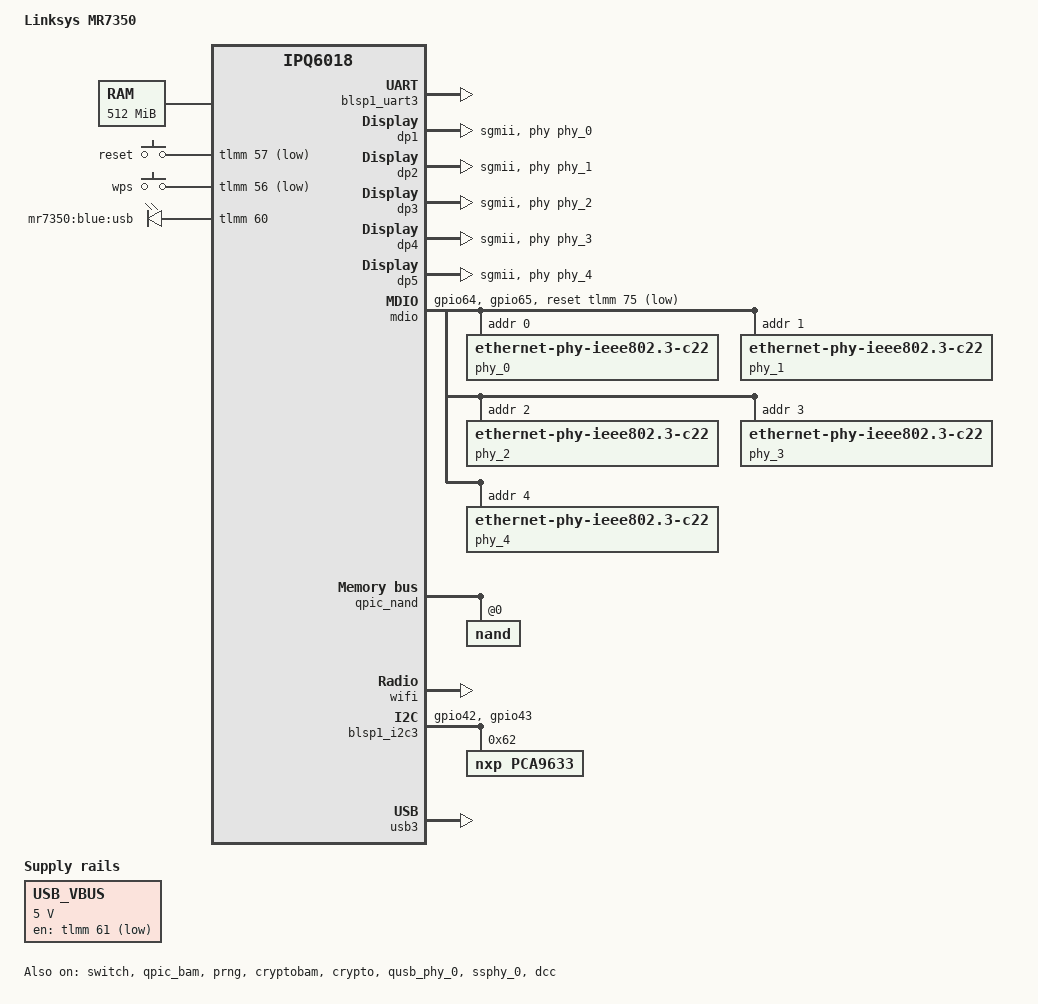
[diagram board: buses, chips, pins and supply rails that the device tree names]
// SPDX-License-Identifier: (GPL-2.0+)

/dts-v1/;

#include "ipq6018.dtsi"
#include "ipq6018-upstreamable.dtsi"
#include "ipq6018-regulator-mp5496.dtsi"
#include "ipq6018-ess.dtsi"

#include <dt-bindings/input/input.h>
#include <dt-bindings/gpio/gpio.h>

/ {
	model = "Linksys MR7350";
	compatible = "linksys,mr7350", "qcom,ipq6018";

	aliases {
		serial0 = &blsp1_uart3;
		led-boot = &led_blue;
		led-failsafe = &led_green;
		led-running = &led_blue;
		led-upgrade = &led_red;

		ethernet0 = "/soc/dp1";
		ethernet1 = "/soc/dp2";
		ethernet2 = "/soc/dp3";
		ethernet3 = "/soc/dp4";
		ethernet4 = "/soc/dp5";
	};

	chosen {
		stdout-path = "serial0:115200n8";
		bootargs-append = " ubi.block=0,rootfs root=/dev/ubiblock0_1 swiotlb=1 coherent_pool=2M";
	};

	memory {
		device_type = "memory";
		reg = <0x0 0x40000000 0x0 0x20000000>;
	};

	keys {
		compatible = "gpio-keys";

		reset {
			label = "reset";
			gpios = <&tlmm 57 GPIO_ACTIVE_LOW>;
			linux,code = <KEY_RESTART>;
		};

		wps {
			label = "wps";
			gpios = <&tlmm 56 GPIO_ACTIVE_LOW>;
			linux,code = <KEY_WPS_BUTTON>;
		};
	};
	
	leds {
		compatible = "gpio-leds";
		pinctrl-0 = <&leds_pins>;
		pinctrl-names = "default";

		usb {
			label = "mr7350:blue:usb";
			gpios = <&tlmm 60 GPIO_ACTIVE_HIGH>;
			linux,default-trigger = "usbport";
		};
	};

	regulator-usb-vbus {
		compatible = "regulator-fixed";
		regulator-name = "USB_VBUS";
		regulator-min-microvolt = <5000000>;
		regulator-max-microvolt = <5000000>;
		regulator-always-on;
		regulator-boot-on;
		gpio = <&tlmm 61 GPIO_ACTIVE_LOW>;
	};
};

&blsp1_uart3 {
	pinctrl-0 = <&serial_3_pins>;
	pinctrl-names = "default";
	status = "ok";
};

&tlmm {
	i2c3_pins: i2c3-pins {
		pins = "gpio42", "gpio43";
		function = "blsp2_i2c";
		drive-strength = <8>;
	};

	mdio_pins: mdio-pins {
		mdc {
			pins = "gpio64";
			function = "mdc";
			drive-strength = <8>;
			bias-pull-up;
		};

		mdio {
			pins = "gpio65";
			function = "mdio";
			drive-strength = <8>;
			bias-pull-up;
		};
	};

	leds_pins: leds_pins {
		led_usb {
			pins = "gpio60";
			function = "gpio";
			drive-strength = <8>;
			bias-pull-down;
		};
	};
};

&soc {
	dp1: dp@1 {
		compatible = "qcom,nss-dp";
		reg = <0x0 0x3a001000 0x0 0x200>;
		qcom,mactype = <0>;
		label = "lan1";
		local-mac-address = [000000000000];
		qcom,id = <1>;

		phy-handle = <&phy_0>;
		phy-mode = "sgmii";
	};

	dp2 {
		compatible = "qcom,nss-dp";
		reg = <0x0 0x3a001200 0x0 0x200>;
		qcom,mactype = <0>;
		label = "lan2";
		local-mac-address = [000000000000];
		qcom,id = <2>;

		phy-handle = <&phy_1>;
		phy-mode = "sgmii";
	};

	dp3 {
		compatible = "qcom,nss-dp";
		reg = <0x0 0x3a001400 0x0 0x200>;
		qcom,mactype = <0>;
		label = "lan3";
		local-mac-address = [000000000000];
		qcom,id = <3>;

		phy-handle = <&phy_2>;
		phy-mode = "sgmii";
	};

	dp4 {
		compatible = "qcom,nss-dp";
		reg = <0x0 0x3a001600 0x0 0x200>;
		qcom,mactype = <0>;
		label = "lan4";
		local-mac-address = [000000000000];
		qcom,id = <4>;

		phy-handle = <&phy_3>;
		phy-mode = "sgmii";
	};

	dp5 {
		compatible = "qcom,nss-dp";
		reg = <0x0 0x3a001800 0x0 0x200>;
		qcom,mactype = <0>;
		label = "wan";
		local-mac-address = [000000000000];
		qcom,id = <5>;

		phy-handle = <&phy_4>;
		phy-mode = "sgmii";
	};
};

&edma {
	status = "ok";
};

&mdio {
	status = "ok";
	pinctrl-0 = <&mdio_pins>;
	pinctrl-names = "default";
	reset-gpios = <&tlmm 75 GPIO_ACTIVE_LOW>;

	phy_0: ethernet-phy@0 {
		compatible = "ethernet-phy-ieee802.3-c22";
		reg = <0>;
	};

	phy_1: ethernet-phy@1 {
		compatible = "ethernet-phy-ieee802.3-c22";
		reg = <1>;
	};

	phy_2: ethernet-phy@2 {
		compatible = "ethernet-phy-ieee802.3-c22";
		reg = <2>;
	};

	phy_3: ethernet-phy@3 {
		compatible = "ethernet-phy-ieee802.3-c22";
		reg = <3>;
	};

	phy_4: ethernet-phy@4 {
		compatible = "ethernet-phy-ieee802.3-c22";
		reg = <4>;
	};

};

&switch {
	status = "ok";

	switch_cpu_bmp = <0x1>;  /* cpu port bitmap */
	switch_lan_bmp = <0x1e>; /* lan port bitmap */
	switch_wan_bmp = <0x20>; /* wan port bitmap */
	switch_inner_bmp = <0xc0>; /*inner port bitmap*/
	switch_mac_mode = <0x00>; /* mac mode for uniphy instance0*/
	switch_mac_mode1 = <0xff>; /* mac mode for uniphy instance1*/
	switch_mac_mode2 = <0xff>; /* mac mode for uniphy instance2*/

	qcom,port_phyinfo {
		port@0 {
			port_id = <0x01>;
			phy_address = <0x00>;
		};
		port@1 {
			port_id = <0x02>;
			phy_address = <0x01>;
		};
		port@2 {
			port_id = <0x03>;
			phy_address = <0x02>;
		};
		port@3 {
			port_id = <0x04>;
			phy_address = <0x03>;
		};
		port@4 {
			port_id = <0x05>;
			phy_address = <0x04>;
		};
	};
};

&qpic_bam {
	status = "ok";
};

&prng {
	status = "ok";
};

&cryptobam {
	status = "ok";
};

&crypto {
	status = "ok";
};

&qpic_nand {
	status = "ok";

	nand@0 {
		reg = <0>;

		nand-ecc-strength = <4>;
		nand-ecc-step-size = <512>;
		nand-bus-width = <8>;

		partitions {
			compatible = "qcom,smem-part";
		};
	};
};

&wifi {
	status = "ok";
	qcom,ath11k-calibration-variant = "Linksys-MR7350";

	qcom,ath11k-fw-memory-mode = <2>;
};

&blsp1_i2c3 {
	pinctrl-0 = <&i2c3_pins>;
	pinctrl-names = "default";
	status = "ok";

	pca9633: pca9633 {
		compatible = "nxp,pca9633";
		#address-cells = <1>;
		#size-cells = <0>;
		reg = <0x62>;

		led_red: red@0 {
			label = "red";
			reg = <0>;
		};
		led_green: green@1 {
			label = "green";
			reg = <1>;
		};
		led_blue: blue@2 {
			label = "blue";
			reg = <2>;
		};
	};
};

&qusb_phy_0 {
	status = "ok";
};

&ssphy_0 {
	status = "ok";
};

&usb3 {
	status = "ok";
};

&dcc {
	status = "ok";
};
